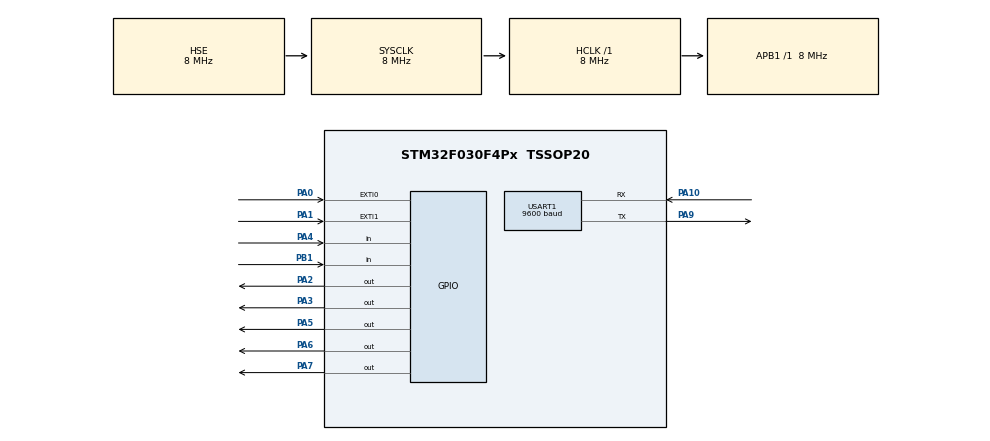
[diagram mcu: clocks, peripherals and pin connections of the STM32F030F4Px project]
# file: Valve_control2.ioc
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Mcu.Family=STM32F0
Mcu.Name=STM32F030F4Px
Mcu.Package=TSSOP20
NVIC.EXTI0_1_IRQn=true\:0\:0\:false\:false\:true\:true\:true
NVIC.USART1_IRQn=true\:0\:0\:false\:false\:true\:true\:true
PA0.Signal=GPXTI0
PA1.GPIO_ModeDefaultEXTI=GPIO_MODE_IT_FALLING
PA1.Signal=GPXTI1
PA10.GPIO_FMA10=__NULL
PA10.Mode=Asynchronous
PA10.Signal=USART1_RX
PA13.Mode=Serial_Wire
PA13.Signal=SYS_SWDIO
PA14.Mode=Serial_Wire
PA14.Signal=SYS_SWCLK
PA2.GPIO_Speed=GPIO_SPEED_FREQ_HIGH
PA2.Signal=GPIO_Output
PA3.GPIO_Speed=GPIO_SPEED_FREQ_HIGH
PA3.Signal=GPIO_Output
PA4.GPIO_PuPd=GPIO_PULLUP
PA4.Signal=GPIO_Input
PA5.GPIO_Speed=GPIO_SPEED_FREQ_HIGH
PA5.Signal=GPIO_Output
PA6.GPIO_Speed=GPIO_SPEED_FREQ_HIGH
PA6.Signal=GPIO_Output
PA7.GPIO_Speed=GPIO_SPEED_FREQ_HIGH
PA7.PinState=GPIO_PIN_RESET
PA7.Signal=GPIO_Output
PA9.GPIO_FMA9=__NULL
PA9.Mode=Asynchronous
PA9.Signal=USART1_TX
PB1.GPIO_PuPd=GPIO_PULLUP
PB1.Signal=GPIO_Input
PF0-OSC_IN.Mode=HSE-External-Oscillator
PF0-OSC_IN.Signal=RCC_OSC_IN
PF1-OSC_OUT.Mode=HSE-External-Oscillator
PF1-OSC_OUT.Signal=RCC_OSC_OUT
ProjectManager.HeapSize=0x200
ProjectManager.StackSize=0x400
ProjectManager.TargetToolchain=STM32CubeIDE
RCC.AHBFreq_Value=8000000
RCC.APB1Freq_Value=8000000
RCC.APB1TimFreq_Value=8000000
RCC.HCLKFreq_Value=8000000
RCC.PLLSourceVirtual=RCC_PLLSOURCE_HSE
RCC.SYSCLKFreq_VALUE=8000000
RCC.SYSCLKSource=RCC_SYSCLKSOURCE_HSE
TIM1.Period=8000
TIM1.Prescaler=8
USART1.BaudRate=9600
USART1.VirtualMode-Asynchronous=VM_ASYNC
VP_TIM1_VS_ClockSourceINT.Mode=Internal
board=custom

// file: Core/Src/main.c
/* USER CODE BEGIN Header */
/**
  ******************************************************************************
  * @file           : main.c
  * @brief          : Main program body
  ******************************************************************************
  * @attention
  *
  * <h2><center>&copy; Copyright (c) 2021 STMicroelectronics.
  * All rights reserved.</center></h2>
  *
  * This software component is licensed by ST under BSD 3-Clause license,
  * the "License"; You may not use this file except in compliance with the
  * License. You may obtain a copy of the License at:
  *                        opensource.org/licenses/BSD-3-Clause
  *
  ******************************************************************************
  */
/* USER CODE END Header */
#include "main.h"

/* USER CODE BEGIN Includes */

#include "gpio.h"
#include "hw_config.h"
#include "uart_command.h"
#include "stm32f0xx_hal_uart.h"
#include "string.h"
#include "stdio.h"
#include "stm32f0xx_hal_exti.h"

/* USER CODE END Includes */

/* USER CODE BEGIN PM */

enum
{
	VALVE_BEGIN = 0 ,
	VALVE_IDLE 	= 1,
	VALVE_FACTORYNEW = 2,
	VALVE_LEAK 	= 3,
	VALVE_OPEN 	= 4,
	VALVE_CLOSE = 5,
	VALVE_NON_LEAK = 6,
	VALVE_SETUP = 7,
	VALVE_METER_REPORT = 8,
} STATE_APP;

enum
{
	MODE_0 = 0,
	MODE_1 = 1,
}VALVE_MODE;

/*****************************************************************/
uint8_t Valve_state = VALVE_BEGIN;
uint8_t next_state = VALVE_IDLE;

uint8_t leak_state = 0;
uint8_t Valve_mode = 0;
uint8_t Meter_mode ;
uint8_t Meter_scale_value ;
uint8_t Meter_value ;
BYTE FLow_reading_state= FALSE;
uint32_t Flow_pulse_value;

/* USER CODE END PM */

TIM_HandleTypeDef htim1;

UART_HandleTypeDef huart1;

/* USER CODE BEGIN PV */

BYTE serBuf[SERBUF_MAX];
IBYTE serBufLen ;
IBYTE bChecksum_RX;
BOOL Zw_connect_status = FALSE;
ZW_UART_COMMAND cmd;
ZW_UART_COMMAND uart_cmd;
volatile uint8_t buffer[7] ;

/* USER CODE END PV */

void SystemClock_Config(void);
static void MX_GPIO_Init(void);
static void MX_USART1_UART_Init(void);
static void MX_TIM1_Init(void);
/* USER CODE BEGIN PFP */

Btn_state Btn_read(uint8_t Btn);
void gpio_SetPin(uint8_t led_pin, Led_state state);
void Valve_control(Valve_control_state state);
void Delay_ms(uint32_t time);
volatile T_CON_TYPE cmd_ready;
BYTE rx_receive[6];

void memcopy(uint8_t *des, uint8_t *src, uint8_t length){
	for(int i = 0; i < length ; i++){
		des[i] = src[i];
	}
}
void HAL_UART_RxCpltCallback(UART_HandleTypeDef *huart){
	if (huart->Instance == USART1)
	{

		cmd_ready = uart_check_protocol(rx_receive[0], TRUE);

		HAL_UART_Receive_IT(&huart1,(uint8_t *)rx_receive, 1);

		if(cmd_ready == conFrameReceived){
			cmd_ready = conIdle;
			memcopy(&cmd, &serBuf[0], serBufLen);
			switch (cmd.zw_uartcommandset.cmd)
			{
				case COMMAND_VALVE:
					if(cmd.zw_uartcommandset.value1 == ZW_VALVE_ON){
					 	next_state = VALVE_OPEN		;
					}
					if(cmd.zw_uartcommandset.value1 == ZW_VALVE_OFF){
					 	next_state = VALVE_CLOSE	;
					}

				break;
				case COMMAND_CONFIGURATION:
					Zw_connect_status = TRUE;
					if(cmd.zw_uartcommandset.value1 == ZW_CONFIGURATION_SET)
					{
						Valve_mode = 1;
						//next_state = VALVE_SETUP;
					}
					if(cmd.zw_uartcommandset.value1 == ZW_CONFIGURATION_RESET)
					{
						Valve_mode = 0;
						//next_state = VALVE_SETUP;
					}
					break;
				case COMMAND_METER:
					if(cmd.zw_uartcommandset.type == ZW_METER_SET){
						Meter_scale_value = cmd.zw_uartcommandset.value1;
				//		next_state = VALVE_METER_SET ;
					}
					if(cmd.zw_uartcommandset.type == ZW_METER_GET){
						next_state = VALVE_METER_REPORT;

					}
					if(cmd.zw_uartcommandset.type == ZW_METER_RESET){
						Meter_mode = 0;
					}
					if(cmd.zw_uartcommandset.type == ZW_METER_REPORT){
						next_state = VALVE_METER_REPORT;
					}
				break;
			}
		}
	}
}

void Flow_meter_cal(uint32_t Tick){
	uint32_t Tick2 = 2*Tick/60000 ;
	uint32_t Frequency = 1/Tick2;
	Meter_value = Meter_scale_value * Frequency;
}

void HAL_GPIO_EXTI_Callback(uint16_t GPIO_Pin){
	if(GPIO_Pin == Flow_meter)
	{
		if(FLow_reading_state){
			Flow_pulse_value = __HAL_TIM_GET_COUNTER(&htim1);
			Flow_meter_cal(Flow_pulse_value);
			HAL_TIM_Base_Stop(&htim1);

		}
		else{
		HAL_TIM_Base_Start(&htim1);
		}
	}
}

void State(void){
	switch(Valve_state){

	  case VALVE_BEGIN:

		 if(Zw_connect_status){
			 uart_cmd.zw_uartcommandset.length = 3;
			 uart_cmd.zw_uartcommandset.cmd = COMMAND_ZW_CONNECT;
			 uart_cmd.zw_uartcommandset.type = COMMAND_ZW_CONNECT;
			 uart_cmd.zw_uartcommandset.value1 = COMMAND_ZW_CONNECT;
			 if(ZW_UART_transmit(uart_cmd))
			 {
			 Valve_state = VALVE_IDLE;
			 }
		 }

		  Valve_state = VALVE_IDLE;

		 break;

		  case VALVE_IDLE:
		  			  if( (next_state == VALVE_OPEN) || (Btn_read(Btn_open)== Pressed)){
		  									  uart_cmd.zw_uartcommandset.length = 3;
		  									  uart_cmd.zw_uartcommandset.cmd = COMMAND_VALVE;
		  									  uart_cmd.zw_uartcommandset.type =ZW_VALVE_SET;
		  									  uart_cmd.zw_uartcommandset.value1 = ZW_VALVE_ON;
		  									  if(ZW_UART_transmit(uart_cmd)){
		  										  Valve_state = VALVE_OPEN;
		  										  Valve_control(On);
		  									  }
		  			  }
		  			  if( (next_state == VALVE_CLOSE) || (Btn_read(Btn_close)== Pressed)){
		  									  uart_cmd.zw_uartcommandset.length = 3;
		  									  uart_cmd.zw_uartcommandset.cmd = COMMAND_VALVE;
		  									  uart_cmd.zw_uartcommandset.type =ZW_VALVE_SET;
		  									  uart_cmd.zw_uartcommandset.value1 = ZW_VALVE_OFF;
		  									  if(ZW_UART_transmit(uart_cmd)){
		  										  Valve_state = VALVE_CLOSE;
		  										  Valve_control(Off);
		  									  }
		  			  }

		  			  if( (leak_state == 0) && HAL_GPIO_ReadPin(GPIOA, GPIO_PIN_1) == GPIO_PIN_RESET) {
		  				  if(Valve_mode == 0){
		  				  					  uart_cmd.zw_uartcommandset.length = 3;
		  				  					  uart_cmd.zw_uartcommandset.cmd = COMMAND_LEAK;
		  				  					  uart_cmd.zw_uartcommandset.type =ZW_LEAK;
		  				  					  uart_cmd.zw_uartcommandset.value1 = ZW_LEAK;
		  				  					  if(ZW_UART_transmit(uart_cmd)){
		  				  					  gpio_SetPin(Led_leak, On);
		  				  					  Valve_state = VALVE_IDLE;
		  				  					  leak_state = 1;
		  				  					  }
		  				  				  }
		  				  				  else{
		  				  					  Valve_state = VALVE_IDLE;
		  				  					  leak_state = 1;
		  				  				  }
		  			  }

		  			  if( (leak_state == 1) && HAL_GPIO_ReadPin(GPIOA, GPIO_PIN_1) == GPIO_PIN_SET ){
		  				  if(Valve_mode == 0){
		  				  					  uart_cmd.zw_uartcommandset.length = 3;
		  				  					  uart_cmd.zw_uartcommandset.cmd = COMMAND_LEAK;
		  				  					  uart_cmd.zw_uartcommandset.type =ZW_NON_LEAK;
		  				  					  uart_cmd.zw_uartcommandset.value1 = ZW_NON_LEAK;
		  				  					 if(ZW_UART_transmit(uart_cmd)){
		  				  					  gpio_SetPin(Led_leak, Off);
		  				  					  Valve_state = VALVE_IDLE;
		  				  					  leak_state = 0;
		  				  					 }
		  				  				  }
		  				  				  else{
		  				  			  		gpio_SetPin(Led_leak, Off);
		  				  			  		Valve_state = VALVE_IDLE;
		  				  			  		leak_state = 0;
		  				  			  	}
		  			  }
		  			  if(next_state == VALVE_BEGIN){
		  				  Valve_state = VALVE_BEGIN;
		  				  next_state = VALVE_IDLE;
		  			  }
		  			  break;

		  			  if(next_state == VALVE_METER_REPORT){
		  				  uart_cmd.zw_uartcommandset.length = 3;
		  				  uart_cmd.zw_uartcommandset.cmd = COMMAND_METER;
		  				  uart_cmd.zw_uartcommandset.type = ZW_METER_REPORT;
		  				  uart_cmd.zw_uartcommandset.type = Meter_value;
		  				  if(ZW_UART_transmit(uart_cmd)){
		  					  next_state = VALVE_IDLE;
		  				  }
		  			  }

		  		  case VALVE_OPEN:
		  			  gpio_SetPin(Led_open_close, On);
		  			  if( (next_state == VALVE_CLOSE) || (Btn_read(Btn_close)== Pressed)){
		  				  	  	  uart_cmd.zw_uartcommandset.length = 3;
		  						  uart_cmd.zw_uartcommandset.cmd = COMMAND_VALVE;
		  						  uart_cmd.zw_uartcommandset.type =ZW_VALVE_SET;
		  						  uart_cmd.zw_uartcommandset.value1 = ZW_VALVE_OFF;

		  						  if(ZW_UART_transmit(uart_cmd)){
		  							  Valve_state = VALVE_CLOSE;
		  							  next_state = VALVE_IDLE;
		  							  Valve_control(Off);
		  						  }

		  			  }
		  			  if( (leak_state == 0) && HAL_GPIO_ReadPin(GPIOA, GPIO_PIN_1) == GPIO_PIN_RESET) {
		  				  if(Valve_mode == 0){
		  					  uart_cmd.zw_uartcommandset.length = 3;
		  					  uart_cmd.zw_uartcommandset.cmd = COMMAND_LEAK;
		  					  uart_cmd.zw_uartcommandset.type =ZW_LEAK;
		  					  uart_cmd.zw_uartcommandset.value1 = ZW_LEAK;
		  					  if(ZW_UART_transmit(uart_cmd)){
		  					  gpio_SetPin(Led_leak, On);
		  					  Valve_state = VALVE_IDLE;
		  					  leak_state = 1;
		  					  }
		  				  }
		  				  else{
		  					  Valve_state = VALVE_IDLE;
		  					  leak_state = 1;
		  				  }
		  			  }

		  			  if( (leak_state == 1) && HAL_GPIO_ReadPin(GPIOA, GPIO_PIN_1) == GPIO_PIN_SET ){
		  				  if(Valve_mode == 0){
		  					  uart_cmd.zw_uartcommandset.length = 3;
		  					  uart_cmd.zw_uartcommandset.cmd = COMMAND_LEAK;
		  					  uart_cmd.zw_uartcommandset.type =ZW_NON_LEAK;
		  					  uart_cmd.zw_uartcommandset.value1 = ZW_NON_LEAK;
		  					 if(ZW_UART_transmit(uart_cmd)){
		  					  gpio_SetPin(Led_leak, Off);
		  					  Valve_state = VALVE_IDLE;
		  					  leak_state = 0;
		  					 }
		  				  }
		  				  else{
		  			  		gpio_SetPin(Led_leak, Off);
		  			  		Valve_state = VALVE_IDLE;
		  			  		leak_state = 0;
		  			  	}
		  			  }
		  			  if(next_state == VALVE_BEGIN){
		  							  Valve_state = VALVE_BEGIN;
		  							  next_state = VALVE_IDLE;
		  						  }
		  			  break;

		  		  case VALVE_CLOSE:
		  			  gpio_SetPin(Led_open_close, Off);
		  			  if( (next_state == VALVE_OPEN) || (Btn_read(Btn_open)== Pressed)){

		  							uart_cmd.zw_uartcommandset.length = 3;
		  							uart_cmd.zw_uartcommandset.cmd = COMMAND_VALVE;
		  							uart_cmd.zw_uartcommandset.type =ZW_VALVE_SET;
		  							uart_cmd.zw_uartcommandset.value1 = ZW_VALVE_ON;
		  							if(ZW_UART_transmit(uart_cmd)){
		  								Valve_state = VALVE_OPEN;
		  								next_state = VALVE_IDLE;
		  								Valve_control(On);
		  							}
		  			  	  }
		  			  if( (leak_state == 0) && HAL_GPIO_ReadPin(GPIOA, GPIO_PIN_1) == GPIO_PIN_RESET) {
		  			  				  if(Valve_mode == 0){
		  			  					  uart_cmd.zw_uartcommandset.length = 3;
		  			  					  uart_cmd.zw_uartcommandset.cmd = COMMAND_LEAK;
		  			  					  uart_cmd.zw_uartcommandset.type =ZW_LEAK;
		  			  					  uart_cmd.zw_uartcommandset.value1 = ZW_LEAK;
		  			  					  if(ZW_UART_transmit(uart_cmd)){
		  			  					  gpio_SetPin(Led_leak, On);
		  			  					  Valve_state = VALVE_IDLE;
		  			  					  leak_state = 1;
		  			  					  }
		  			  				  }
		  			  				  else{
		  			  					  Valve_state = VALVE_IDLE;
		  			  					  leak_state = 1;
		  			  				  }
		  			  			  }

		  			  if( (leak_state == 1) && HAL_GPIO_ReadPin(GPIOA, GPIO_PIN_1) == GPIO_PIN_SET ){
		  			  				  if(Valve_mode == 0){
		  			  					  uart_cmd.zw_uartcommandset.length = 3;
		  			  					  uart_cmd.zw_uartcommandset.cmd = COMMAND_LEAK;
		  			  					  uart_cmd.zw_uartcommandset.type =ZW_NON_LEAK;
		  			  					  uart_cmd.zw_uartcommandset.value1 = ZW_NON_LEAK;
		  			  					  if(ZW_UART_transmit(uart_cmd)){
		  			  					  gpio_SetPin(Led_leak, Off);
		  			  					  Valve_state = VALVE_IDLE;
		  			  					  leak_state = 0;
		  			  					  }
		  			  				  }
		  			  				  else{
		  			  			  		gpio_SetPin(Led_leak, Off);
		  			  			  		Valve_state = VALVE_IDLE;
		  			  			  		leak_state = 0;
		  			  			  	}
		  			  			  }
		  			  if(next_state == VALVE_BEGIN){
		  				  Valve_state = VALVE_BEGIN;
		  				  next_state = VALVE_IDLE;
		  			  }
		  			  break;
	}
}
/* USER CODE END PFP */

int main(void)
{

  /* MCU Configuration--------------------------------------------------------*/

  /* Reset of all peripherals, Initializes the Flash interface and the Systick. */
  HAL_Init();

  /* Configure the system clock */
  SystemClock_Config();

  /* Initialize all configured peripherals */
  MX_GPIO_Init();
  MX_USART1_UART_Init();
  MX_TIM1_Init();
  /* USER CODE BEGIN 2 */
  HAL_UART_Receive_IT(&huart1,(uint8_t *)rx_receive, 1);
  /* USER CODE END 2 */

  /* Infinite loop */
  /* USER CODE BEGIN WHILE */
  HAL_GPIO_WritePin(GPIOA, GPIO_PIN_5|GPIO_PIN_6|GPIO_PIN_7, GPIO_PIN_SET);
  while (1)
  {
	  State();

    /* USER CODE END WHILE */

  }
}

void SystemClock_Config(void)
{
  RCC_OscInitTypeDef RCC_OscInitStruct = {0};
  RCC_ClkInitTypeDef RCC_ClkInitStruct = {0};
  RCC_PeriphCLKInitTypeDef PeriphClkInit = {0};

  /** Initializes the RCC Oscillators according to the specified parameters
  * in the RCC_OscInitTypeDef structure.
  */
  RCC_OscInitStruct.OscillatorType = RCC_OSCILLATORTYPE_HSE;
  RCC_OscInitStruct.HSEState = RCC_HSE_ON;
  RCC_OscInitStruct.PLL.PLLState = RCC_PLL_NONE;
  if (HAL_RCC_OscConfig(&RCC_OscInitStruct) != HAL_OK)
  {
    Error_Handler();
  }
  /** Initializes the CPU, AHB and APB buses clocks
  */
  RCC_ClkInitStruct.ClockType = RCC_CLOCKTYPE_HCLK|RCC_CLOCKTYPE_SYSCLK
                              |RCC_CLOCKTYPE_PCLK1;
  RCC_ClkInitStruct.SYSCLKSource = RCC_SYSCLKSOURCE_HSE;
  RCC_ClkInitStruct.AHBCLKDivider = RCC_SYSCLK_DIV1;
  RCC_ClkInitStruct.APB1CLKDivider = RCC_HCLK_DIV1;

  if (HAL_RCC_ClockConfig(&RCC_ClkInitStruct, FLASH_LATENCY_0) != HAL_OK)
  {
    Error_Handler();
  }
  PeriphClkInit.PeriphClockSelection = RCC_PERIPHCLK_USART1;
  PeriphClkInit.Usart1ClockSelection = RCC_USART1CLKSOURCE_PCLK1;
  if (HAL_RCCEx_PeriphCLKConfig(&PeriphClkInit) != HAL_OK)
  {
    Error_Handler();
  }
}

static void MX_TIM1_Init(void)
{

  TIM_ClockConfigTypeDef sClockSourceConfig = {0};
  TIM_MasterConfigTypeDef sMasterConfig = {0};

  htim1.Instance = TIM1;
  htim1.Init.Prescaler = 8;
  htim1.Init.CounterMode = TIM_COUNTERMODE_UP;
  htim1.Init.Period = 8000;
  htim1.Init.ClockDivision = TIM_CLOCKDIVISION_DIV1;
  htim1.Init.RepetitionCounter = 0;
  htim1.Init.AutoReloadPreload = TIM_AUTORELOAD_PRELOAD_DISABLE;
  if (HAL_TIM_Base_Init(&htim1) != HAL_OK)
  {
    Error_Handler();
  }
  sClockSourceConfig.ClockSource = TIM_CLOCKSOURCE_INTERNAL;
  if (HAL_TIM_ConfigClockSource(&htim1, &sClockSourceConfig) != HAL_OK)
  {
    Error_Handler();
  }
  sMasterConfig.MasterOutputTrigger = TIM_TRGO_RESET;
  sMasterConfig.MasterSlaveMode = TIM_MASTERSLAVEMODE_DISABLE;
  if (HAL_TIMEx_MasterConfigSynchronization(&htim1, &sMasterConfig) != HAL_OK)
  {
    Error_Handler();
  }

}

static void MX_USART1_UART_Init(void)
{

  huart1.Instance = USART1;
  huart1.Init.BaudRate = 9600;
  huart1.Init.WordLength = UART_WORDLENGTH_8B;
  huart1.Init.StopBits = UART_STOPBITS_1;
  huart1.Init.Parity = UART_PARITY_NONE;
  huart1.Init.Mode = UART_MODE_TX_RX;
  huart1.Init.HwFlowCtl = UART_HWCONTROL_NONE;
  huart1.Init.OverSampling = UART_OVERSAMPLING_16;
  huart1.Init.OneBitSampling = UART_ONE_BIT_SAMPLE_DISABLE;
  huart1.AdvancedInit.AdvFeatureInit = UART_ADVFEATURE_NO_INIT;
  if (HAL_UART_Init(&huart1) != HAL_OK)
  {
    Error_Handler();
  }

}

static void MX_GPIO_Init(void)
{
  GPIO_InitTypeDef GPIO_InitStruct = {0};

  /* GPIO Ports Clock Enable */
  __HAL_RCC_GPIOF_CLK_ENABLE();
  __HAL_RCC_GPIOA_CLK_ENABLE();
  __HAL_RCC_GPIOB_CLK_ENABLE();

  /*Configure GPIO pin Output Level */
  HAL_GPIO_WritePin(GPIOA, GPIO_PIN_2|GPIO_PIN_3|GPIO_PIN_5|GPIO_PIN_6
                          |GPIO_PIN_7, GPIO_PIN_RESET);

  /*Configure GPIO pin : PA0 */
  GPIO_InitStruct.Pin = GPIO_PIN_0;
  GPIO_InitStruct.Mode = GPIO_MODE_IT_RISING;
  GPIO_InitStruct.Pull = GPIO_NOPULL;
  HAL_GPIO_Init(GPIOA, &GPIO_InitStruct);

  /*Configure GPIO pin : PA1 */
  GPIO_InitStruct.Pin = GPIO_PIN_1;
  GPIO_InitStruct.Mode = GPIO_MODE_IT_FALLING;
  GPIO_InitStruct.Pull = GPIO_NOPULL;
  HAL_GPIO_Init(GPIOA, &GPIO_InitStruct);

  /*Configure GPIO pins : PA2 PA3 PA5 PA6
                           PA7 */
  GPIO_InitStruct.Pin = GPIO_PIN_2|GPIO_PIN_3|GPIO_PIN_5|GPIO_PIN_6
                          |GPIO_PIN_7;
  GPIO_InitStruct.Mode = GPIO_MODE_OUTPUT_PP;
  GPIO_InitStruct.Pull = GPIO_NOPULL;
  GPIO_InitStruct.Speed = GPIO_SPEED_FREQ_HIGH;
  HAL_GPIO_Init(GPIOA, &GPIO_InitStruct);

  /*Configure GPIO pin : PA4 */
  GPIO_InitStruct.Pin = GPIO_PIN_4;
  GPIO_InitStruct.Mode = GPIO_MODE_INPUT;
  GPIO_InitStruct.Pull = GPIO_PULLUP;
  HAL_GPIO_Init(GPIOA, &GPIO_InitStruct);

  /*Configure GPIO pin : PB1 */
  GPIO_InitStruct.Pin = GPIO_PIN_1;
  GPIO_InitStruct.Mode = GPIO_MODE_INPUT;
  GPIO_InitStruct.Pull = GPIO_PULLUP;
  HAL_GPIO_Init(GPIOB, &GPIO_InitStruct);

  /* EXTI interrupt init*/
  HAL_NVIC_SetPriority(EXTI0_1_IRQn, 0, 0);
  HAL_NVIC_EnableIRQ(EXTI0_1_IRQn);

}

/* USER CODE BEGIN 4 */
/*
T_CON_TYPE uart_check_protocol(uint8_t c , BYTE acknowledge){

	static T_CON_TYPE retval = conIdle;

		switch (con_state)
		{
		case stateSOFHunt:
			if(c == SOF){
				bChecksum_RX = 0xff;
				serBufLen = 0;
				con_state ++;

			}

			else{
				if (AckNakNeeded)
				          {
				              if (c == ACK)
				              {
				                retval = conFrameSent;
				                AckNakNeeded = FALSE;  // Done
				                AckNak = ACK;
				              }
				              else if (c == NAK)
				              {
				                retval = conTxTimeout;
				                AckNakNeeded = FALSE;
				                AckNak = NAK;
				              }
				              else
				              {
				                // Bogus character received...
				              }
				            }
			}

			break;
		case stateLen:
			 if (( c< FRAME_LENGTH_MIN) || (c> FRAME_LENGTH_MAX))
			          {
			            con_state = stateSOFHunt; // Restart looking for SOF
			            break;
			          }

        case stateCmd :
          if(serBufLen &&  (c > COMMAND_END))
          {
            con_state = stateSOFHunt; // Restart looking for SOF
            break;
          }

        case stateType:
        	con_state++;

		case stateData:
				if(serBufLen < SERBUF_MAX){
					serBuf[serBufLen] = c;
					serBufLen++;
					bChecksum_RX ^= c;
					if (serBufLen >= serFrameLen)
					   {
					              con_state++;
					   }
					}
				else{
					con_state++;
					}
				break;

		case stateChecksum:

			if(acknowledge){
				if(c == bChecksum_RX)
				{
					//gpio_SetPin(Led_flow, On);
					retval = conFrameReceived;
					con_state = stateSOFHunt;
				}
				else{
					retval = conFrameErr;
					con_state = stateSOFHunt;
				}
			}
			break;
		}
	return retval;
}
*/
Btn_state Btn_read(uint8_t Btn){
	switch (Btn){
		case Btn_open:
			if(HAL_GPIO_ReadPin(GPIOB, Btn_open) == GPIO_PIN_RESET)
				{
				return Pressed;
				}
			else
				{
				return Released;
				}

		case Btn_close:
			if(HAL_GPIO_ReadPin(GPIOA, Btn_close) == GPIO_PIN_RESET)
				{
				return Pressed;
				}
			else
				{
				return Released;
				}
	}
	return Released;
}

void gpio_SetPin(uint8_t led_pin, Led_state state){
	switch (state){
		case On:
			HAL_GPIO_WritePin(GPIOA, led_pin, GPIO_PIN_RESET);
			break;
		case Off:
			HAL_GPIO_WritePin(GPIOA, led_pin, GPIO_PIN_SET);
		break;
	}
}
void Delay_ms(uint32_t time){
	HAL_Delay(time);
}

void Valve_control(Valve_control_state state)
{
	switch (state){
		case Valve_On:
			HAL_GPIO_WritePin(GPIOA, Valve_control_2, GPIO_PIN_RESET);
			Delay_ms(1000);
			HAL_GPIO_WritePin(GPIOA, Valve_control_1, GPIO_PIN_SET);
			Delay_ms(7000);
			HAL_GPIO_WritePin(GPIOA, Valve_control_1, GPIO_PIN_RESET);

		break;
		case Valve_Off:

			HAL_GPIO_WritePin(GPIOA, Valve_control_1, GPIO_PIN_RESET);
			Delay_ms(1000);
			HAL_GPIO_WritePin(GPIOA, Valve_control_2, GPIO_PIN_SET);
			Delay_ms(7000);
			HAL_GPIO_WritePin(GPIOA, Valve_control_2, GPIO_PIN_RESET);
	}
}
/* USER CODE END 4 */

void Error_Handler(void)
{
  __disable_irq();
  while (1)
  {
  }
}

/************************ (C) COPYRIGHT STMicroelectronics *****END OF FILE****/
